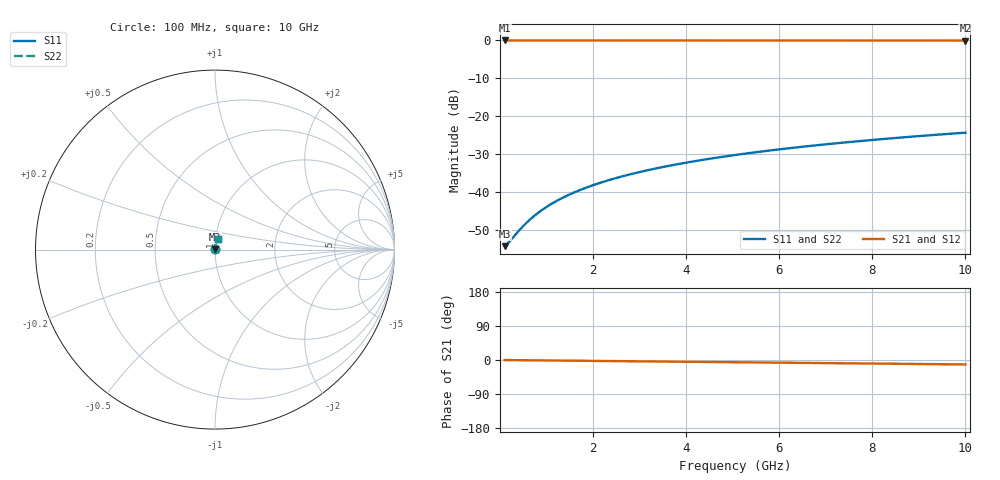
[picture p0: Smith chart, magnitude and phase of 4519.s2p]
# Hz S RI R 50.00
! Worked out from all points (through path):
!   100 points, 100 MHz to 10 GHz, reference 50 ohm
!   highest |S21| = -0.02 dB at 100 MHz (marker M1); lowest = 0.0 dB at 10 GHz (marker M2)
!   group delay of S21, straight-line fit = 3.25 ps
!   lowest |S11| = -54.2 dB at 100 MHz (marker M3), VSWR 1.00, Z = 50.2 + j0.0613 ohm
!   |S11| at or under -10 dB: start of sweep to end of sweep
!   |S22| runs from -54.2 to -24.3 dB; largest |S21 - S12| = 0
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1e8  0.00186 0.000611  0.9981 -0.00204  0.9981 -0.00204  0.00186 0.000611
2e8  0.00188 0.00122  0.9981 -0.00407  0.9981 -0.00407  0.00188 0.00122
4e8  0.00191 0.00244  0.9981 -0.00814  0.9981 -0.00814  0.00191 0.00244
5e8  0.00193 0.00305  0.998 -0.0102  0.998 -0.0102  0.00193 0.00305
6e8  0.00194 0.00366  0.998 -0.0122  0.998 -0.0122  0.00194 0.00366
7e8  0.00197 0.00427  0.998 -0.0142  0.998 -0.0142  0.00197 0.00427
9e8  0.00201 0.00549  0.9979 -0.0183  0.9979 -0.0183  0.00201 0.00549
1.1e9  0.00207 0.00671  0.9978 -0.0224  0.9978 -0.0224  0.00207 0.00671
1.3e9  0.00214 0.00793  0.9977 -0.0265  0.9977 -0.0265  0.00214 0.00793
1.5e9  0.00221 0.00915  0.9975 -0.0305  0.9975 -0.0305  0.00221 0.00915
1.8e9  0.00234 0.011  0.9973 -0.0366  0.9973 -0.0366  0.00234 0.011
2.1e9  0.00249 0.0128  0.997 -0.0427  0.997 -0.0427  0.00249 0.0128
2.5e9  0.00273 0.0152  0.9966 -0.0509  0.9966 -0.0509  0.00273 0.0152
2.9e9  0.003 0.0177  0.9961 -0.059  0.9961 -0.059  0.003 0.0177
3.4e9  0.0034 0.0207  0.9954 -0.0692  0.9954 -0.0692  0.0034 0.0207
4.2e9  0.00417 0.0255  0.994 -0.0854  0.994 -0.0854  0.00417 0.0255
5.1e9  0.00522 0.0309  0.9921 -0.1037  0.9921 -0.1037  0.00522 0.0309
5.9e9  0.00632 0.0357  0.99 -0.1198  0.99 -0.1198  0.00632 0.0357
6.7e9  0.00758 0.0404  0.9877 -0.136  0.9877 -0.136  0.00758 0.0404
7.5e9  0.00899 0.0451  0.9852 -0.1521  0.9852 -0.1521  0.00899 0.0451
8.4e9  0.0108 0.0503  0.9819 -0.1702  0.9819 -0.1702  0.0108 0.0503
1e10  0.0144 0.0594  0.9752 -0.2022  0.9752 -0.2022  0.0144 0.0594
